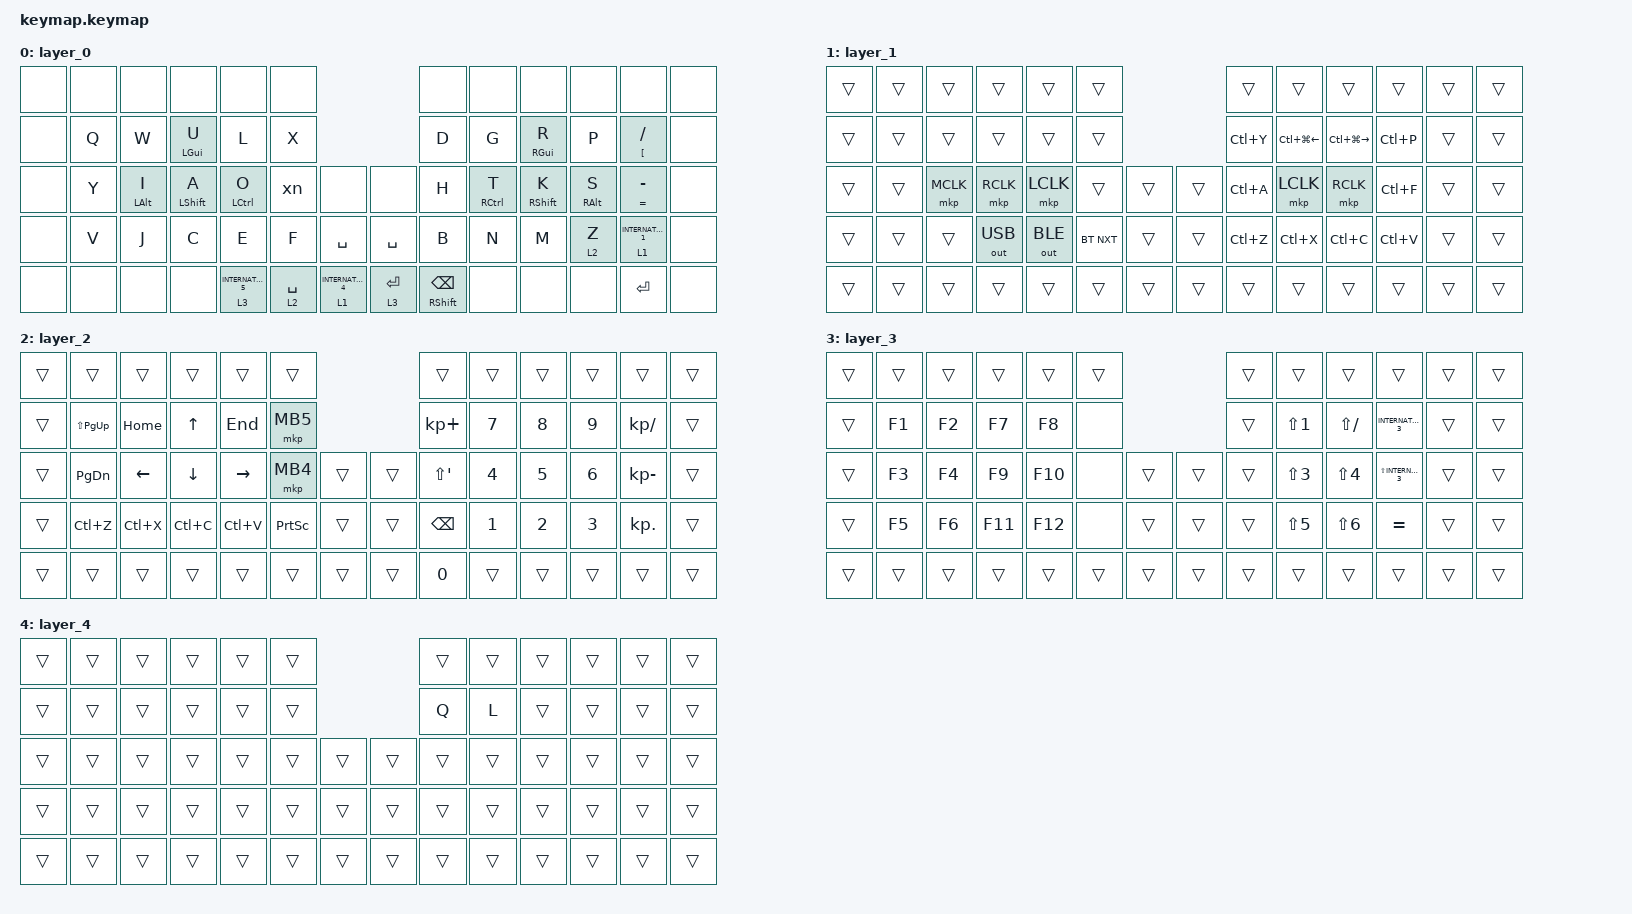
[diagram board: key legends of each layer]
#include <behaviors.dtsi>
#include <dt-bindings/zmk/bt.h>
#include <dt-bindings/zmk/keys.h>
#include <dt-bindings/zmk/outputs.h>
#include <dt-bindings/zmk/pointing.h>

&mt {
    quick-tap-ms = <0>;
    flavor = "balanced";
};

/ {
    combos {
        compatible = "zmk,combos";

        bt_clear {
            bindings = <&bt BT_CLR>;
            key-positions = <28 29>;
            layers = <2>;
        };

        ZenHankaku {
            bindings = <&kp GRAVE>;
            key-positions = <13 14>;
        };

        esc {
            bindings = <&kp ESCAPE>;
            key-positions = <14 15>;
        };

        backspace {
            bindings = <&kp BACKSPACE>;
            key-positions = <41 27>;
        };

        back_tab {
            bindings = <&kp LS(TAB)>;
            key-positions = <41 40>;
        };

        return {
            bindings = <&kp RETURN>;
            key-positions = <16 28>;
        };

        del {
            bindings = <&kp DELETE>;
            key-positions = <28 42>;
        };

        tab {
            bindings = <&kp TAB>;
            key-positions = <41 42>;
        };

        Lkakko {
            bindings = <&kp LS(N8)>;
            key-positions = <28 26>;
        };

        Lkagikakko {
            bindings = <&kp RIGHT_BRACKET>;
            key-positions = <25 28>;
        };

        dublequort {
            bindings = <&kp LS(NUMBER_2)>;
            key-positions = <21 20>;
        };

        dot {
            bindings = <&kp DOT>;
            key-positions = <35 34>;
        };

        quort {
            bindings = <&kp LS(N7)>;
            key-positions = <49 48>;
        };

        semicolon {
            bindings = <&kp SEMI>;
            key-positions = <19 20>;
        };

        comma {
            bindings = <&kp COMMA>;
            key-positions = <33 34>;
        };

        apos {
            bindings = <&kp APOS>;
            key-positions = <47 48>;
        };

        Rkakko {
            bindings = <&kp LS(N9)>;
            key-positions = <33 35>;
        };

        Rkagikakko {
            bindings = <&kp BACKSLASH>;
            key-positions = <33 36>;
        };

        mb1 {
            bindings = <&mkp MB1>;
            key-positions = <47 33>;
        };

        mb2 {
            bindings = <&mkp MB2>;
            key-positions = <48 34>;
        };
    };

    macros {
        xn: new_macro {
            compatible = "zmk,behavior-macro";
            #binding-cells = <0>;
            bindings = <&macro_tap>, <&kp X &kp N>;

            label = "NEW_MACRO";
        };
    };

    behaviors {
        lt_to_layer_0: lt_to_layer_0 {
            compatible = "zmk,behavior-hold-tap";
            label = "LT_TO_LAYER_0";
            bindings = <&mo>, <&none>;

            #binding-cells = <2>;
            tapping-term-ms = <200>;
        };

        lt2: lt2 {
            compatible = "zmk,behavior-hold-tap";
            label = "LT2";
            bindings = <&mo>, <&kp>;

            #binding-cells = <2>;
            tapping-term-ms = <200>;
            quick-tap-ms = <200>;
            require-prior-idle-ms = <125>;
            flavor = "tap-preferred";
        };

        mt2: mt2 {
            compatible = "zmk,behavior-hold-tap";
            label = "MT2";
            bindings = <&kp>, <&kp>;

            #binding-cells = <2>;
            tapping-term-ms = <200>;
            quick-tap-ms = <200>;
            require-prior-idle-ms = <125>;
            flavor = "tap-preferred";
        };
    };

    keymap {
        compatible = "zmk,keymap";

        layer_0 {
            bindings = <
&none  &none  &none            &none              &none                  &none                                             &none                      &none                 &none               &none             &none                    &none
&none  &kp Q  &kp W            &mt2 LEFT_GUI U    &kp L                  &kp X                                             &kp D                      &kp G                 &mt2 RIGHT_GUI R    &kp P             &mt2 LEFT_BRACKET SLASH  &none
&none  &kp Y  &mt2 LEFT_ALT I  &mt2 LEFT_SHIFT A  &mt2 LEFT_CONTROL O    &xn          &none                  &none         &kp H                      &mt2 RIGHT_CONTROL T  &mt2 RIGHT_SHIFT K  &mt2 RIGHT_ALT S  &mt2 EQUAL MINUS         &none
&none  &kp V  &kp J            &kp C              &kp E                  &kp F        &kp SPACE              &kp SPACE     &kp B                      &kp N                 &kp M               &lt2 2 Z          &lt2 1 INTERNATIONAL_1   &none
&none  &none  &none            &none              &lt 3 INTERNATIONAL_5  &lt 2 SPACE  &lt 1 INTERNATIONAL_4  &lt 3 RETURN  &mt RIGHT_SHIFT BACKSPACE  &none                 &none               &none             &kp RET                  &none
            >;
        };

        layer_1 {
            bindings = <
&trans  &trans  &trans     &trans        &trans        &trans                      &trans     &trans                  &trans                   &trans     &trans  &trans
&trans  &trans  &trans     &trans        &trans        &trans                      &kp LC(Y)  &kp LC(LG(LEFT_ARROW))  &kp LC(LG(RIGHT_ARROW))  &kp LC(P)  &trans  &trans
&trans  &trans  &mkp MCLK  &mkp RCLK     &mkp LCLK     &trans      &trans  &trans  &kp LC(A)  &mkp LCLK               &mkp RCLK                &kp LC(F)  &trans  &trans
&trans  &trans  &trans     &out OUT_USB  &out OUT_BLE  &bt BT_NXT  &trans  &trans  &kp LC(Z)  &kp LC(X)               &kp LC(C)                &kp LC(V)  &trans  &trans
&trans  &trans  &trans     &trans        &trans        &trans      &trans  &trans  &trans     &trans                  &trans                   &trans     &trans  &trans
            >;
        };

        layer_2 {
            bindings = <
&trans  &trans           &trans     &trans          &trans           &trans                           &trans         &trans        &trans        &trans        &trans        &trans
&trans  &kp LS(PAGE_UP)  &kp HOME   &kp UP_ARROW    &kp END          &mkp MB5                         &kp KP_PLUS    &kp N7        &kp N8        &kp N9        &kp KP_SLASH  &trans
&trans  &kp PAGE_DOWN    &kp LEFT   &kp DOWN_ARROW  &kp RIGHT_ARROW  &mkp MB4         &trans  &trans  &kp LS(APOS)   &kp NUMBER_4  &kp N5        &kp NUMBER_6  &kp KP_MINUS  &trans
&trans  &kp LC(Z)        &kp LC(X)  &kp LC(C)       &kp LC(V)        &kp PRINTSCREEN  &trans  &trans  &kp BACKSPACE  &kp NUMBER_1  &kp NUMBER_2  &kp NUMBER_3  &kp KP_DOT    &trans
&trans  &trans           &trans     &trans          &trans           &trans           &trans  &trans  &kp N0         &trans        &trans        &trans        &trans        &trans
            >;
        };

        layer_3 {
            bindings = <
&trans  &trans  &trans  &trans   &trans   &trans                  &trans  &trans            &trans            &trans                   &trans  &trans
&trans  &kp F1  &kp F2  &kp F7   &kp F8   &none                   &trans  &kp LS(NUMBER_1)  &kp LS(SLASH)     &kp INTERNATIONAL_3      &trans  &trans
&trans  &kp F3  &kp F4  &kp F9   &kp F10  &none   &trans  &trans  &trans  &kp LS(N3)        &kp LS(NUMBER_4)  &kp LS(INTERNATIONAL_3)  &trans  &trans
&trans  &kp F5  &kp F6  &kp F11  &kp F12  &none   &trans  &trans  &trans  &kp LS(N5)        &kp LS(NUMBER_6)  &kp EQUAL                &trans  &trans
&trans  &trans  &trans  &trans   &trans   &trans  &trans  &trans  &trans  &trans            &trans            &trans                   &trans  &trans
            >;
        };

        layer_4 {
            bindings = <
&trans  &trans  &trans  &trans  &trans  &trans                  &trans  &trans  &trans  &trans  &trans  &trans
&trans  &trans  &trans  &trans  &trans  &trans                  &kp Q   &kp L   &trans  &trans  &trans  &trans
&trans  &trans  &trans  &trans  &trans  &trans  &trans  &trans  &trans  &trans  &trans  &trans  &trans  &trans
&trans  &trans  &trans  &trans  &trans  &trans  &trans  &trans  &trans  &trans  &trans  &trans  &trans  &trans
&trans  &trans  &trans  &trans  &trans  &trans  &trans  &trans  &trans  &trans  &trans  &trans  &trans  &trans
            >;
        };
    };
};
